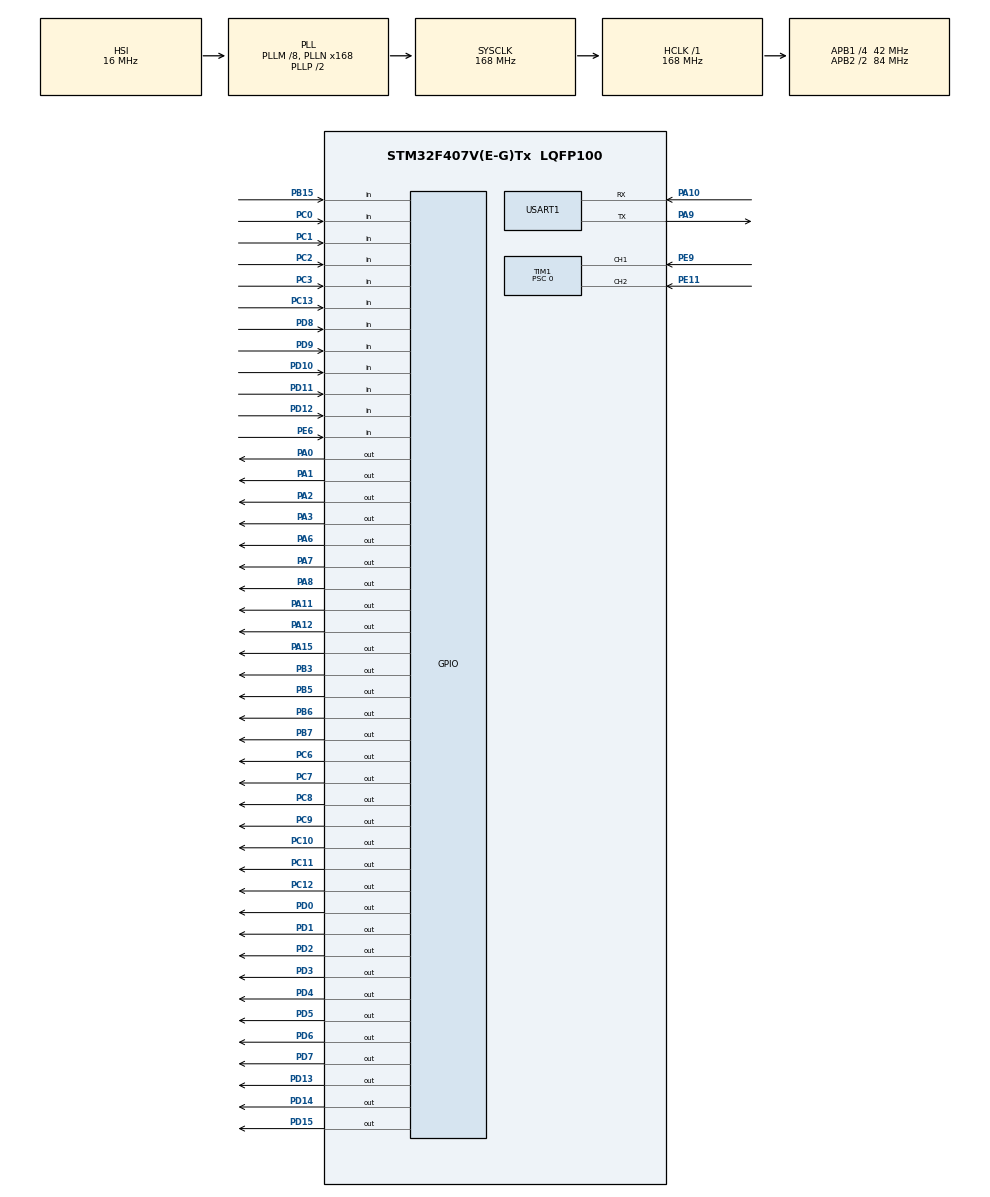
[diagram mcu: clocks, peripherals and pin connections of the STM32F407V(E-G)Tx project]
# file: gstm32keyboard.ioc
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Mcu.Family=STM32F4
Mcu.Name=STM32F407V(E-G)Tx
Mcu.Package=LQFP100
NVIC.PriorityGroup=NVIC_PRIORITYGROUP_4
NVIC.USART1_IRQn=true\:0\:0\:false\:false\:true\:true\:true\:true
PA0-WKUP.Signal=GPIO_Output
PA1.Signal=GPIO_Output
PA10.Mode=Asynchronous
PA10.Signal=USART1_RX
PA11.Signal=GPIO_Output
PA12.Signal=GPIO_Output
PA15.Signal=GPIO_Output
PA2.Signal=GPIO_Output
PA3.Signal=GPIO_Output
PA6.Signal=GPIO_Output
PA7.Signal=GPIO_Output
PA8.Signal=GPIO_Output
PA9.Mode=Asynchronous
PA9.Signal=USART1_TX
PB15.GPIO_PuPd=GPIO_PULLUP
PB15.Signal=GPIO_Input
PB3.Signal=GPIO_Output
PB5.Signal=GPIO_Output
PB6.Signal=GPIO_Output
PB7.Signal=GPIO_Output
PC0.GPIO_PuPd=GPIO_PULLUP
PC0.Signal=GPIO_Input
PC1.GPIO_PuPd=GPIO_PULLUP
PC1.Signal=GPIO_Input
PC10.Signal=GPIO_Output
PC11.Signal=GPIO_Output
PC12.Signal=GPIO_Output
PC13-ANTI_TAMP.GPIO_PuPd=GPIO_PULLUP
PC13-ANTI_TAMP.Signal=GPIO_Input
PC2.GPIO_PuPd=GPIO_PULLUP
PC2.Signal=GPIO_Input
PC3.GPIO_PuPd=GPIO_PULLUP
PC3.Signal=GPIO_Input
PC6.Signal=GPIO_Output
PC7.Signal=GPIO_Output
PC8.Signal=GPIO_Output
PC9.Signal=GPIO_Output
PD0.Signal=GPIO_Output
PD1.Signal=GPIO_Output
PD10.GPIO_PuPd=GPIO_PULLUP
PD10.Signal=GPIO_Input
PD11.GPIO_PuPd=GPIO_PULLUP
PD11.Signal=GPIO_Input
PD12.GPIO_PuPd=GPIO_PULLUP
PD12.Signal=GPIO_Input
PD13.Signal=GPIO_Output
PD14.Signal=GPIO_Output
PD15.Signal=GPIO_Output
PD2.Signal=GPIO_Output
PD3.Signal=GPIO_Output
PD4.Signal=GPIO_Output
PD5.Signal=GPIO_Output
PD6.Signal=GPIO_Output
PD7.Signal=GPIO_Output
PD8.GPIO_PuPd=GPIO_PULLUP
PD8.Signal=GPIO_Input
PD9.GPIO_PuPd=GPIO_PULLUP
PD9.Signal=GPIO_Input
PE11.GPIO_PuPd=GPIO_PULLUP
PE11.Signal=S_TIM1_CH2
PE6.GPIO_PuPd=GPIO_PULLUP
PE6.Signal=GPIO_Input
PE9.GPIO_PuPd=GPIO_PULLUP
PE9.Signal=S_TIM1_CH1
ProjectManager.HeapSize=0x200
ProjectManager.StackSize=0x400
ProjectManager.TargetToolchain=Makefile
RCC.48MHZClocksFreq_Value=84000000
RCC.AHBFreq_Value=168000000
RCC.APB1CLKDivider=RCC_HCLK_DIV4
RCC.APB1Freq_Value=42000000
RCC.APB1TimFreq_Value=84000000
RCC.APB2CLKDivider=RCC_HCLK_DIV2
RCC.APB2Freq_Value=84000000
RCC.APB2TimFreq_Value=168000000
RCC.CortexFreq_Value=168000000
RCC.HCLKFreq_Value=168000000
RCC.HSE_VALUE=25000000
RCC.HSI_VALUE=16000000
RCC.LSE_VALUE=32768
RCC.PLLM=8
RCC.PLLN=168
RCC.SYSCLKFreq_VALUE=168000000
RCC.SYSCLKSource=RCC_SYSCLKSOURCE_PLLCLK
RCC.VCOOutputFreq_Value=336000000
SH.S_TIM1_CH1.0=TIM1_CH1,Encoder_Interface
SH.S_TIM1_CH2.0=TIM1_CH2,Encoder_Interface
TIM1.Period=0xffff
TIM1.Prescaler=0
TIM10.Prescaler=167
USART1.VirtualMode=VM_ASYNC
VP_TIM10_VS_ClockSourceINT.Mode=Enable_Timer
board=custom

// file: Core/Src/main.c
/* USER CODE BEGIN Header */
/**
 ******************************************************************************
 * @file           : main.c
 * @brief          : Main program body
 ******************************************************************************
 * @attention
 *
 * Copyright (c) 2023 STMicroelectronics.
 * All rights reserved.
 *
 * This software is licensed under terms that can be found in the LICENSE file
 * in the root directory of this software component.
 * If no LICENSE file comes with this software, it is provided AS-IS.
 *
 ******************************************************************************
 */
/* USER CODE END Header */
#include "main.h"
#include "tim.h"
#include "usart.h"
#include "gpio.h"

/* USER CODE BEGIN Includes */
#include "buttons.h"
#include "leds.h"
/* USER CODE END Includes */

/* USER CODE BEGIN PM */
void usDelay(uint16_t usec) {
    __HAL_TIM_SET_COUNTER(&htim10, 0);
    while (__HAL_TIM_GET_COUNTER(&htim10) < usec);
}
/* USER CODE END PM */

/* USER CODE BEGIN PV */
uint8_t ENABLED = 0;

//Buffers
uint8_t txbuff[5];
uint8_t rxbuff[5];

//Tmp
int32_t prevCounter = 0;
uint8_t mode = 1;
uint8_t keycols = 0;
/* USER CODE END PV */

void SystemClock_Config(void);

/* USER CODE BEGIN 0 */

uint8_t find(uint8_t *array, const uint8_t count, const uint8_t value) {
    for (int i = 0; i < count; i++) {
        if ( array[i] == value ) return 1;
    }
    return 0;
}

/*--UART FUNCTIONS--*/
void uart_rx()
{
    if (HAL_UART_Receive_IT(&huart1, rxbuff, 3) != HAL_BUSY)
    {
        if (rxbuff[0] == 0xdd && rxbuff[1] == 0xee){
            ENABLED = (rxbuff[2] == 0xff) ? 1 : 0;
        } else if (ENABLED) {
            if (rxbuff[0] == 0xaa && rxbuff[1] == 0xbb)
                (rxbuff[2] == 0xff) ? ledsAll(1) : ledsAll(0);
            else if (rxbuff[0] < KEYOUTS && rxbuff[1] < LEDS)
                ledView(rxbuff[0], rxbuff[1], (rxbuff[2] == 0xff) ? 1 : 0);
        }
    }
}

void uart_tx()
{

    //Main buttons
    for (uint8_t key = 0; key < KEYINS + 3; key++) {
        if (getKeysMatrix(keycols, 1, key) == 1 || ( key >= KEYINS && getEKeysMatrix(1, key-9) == 1 )) {
            if (key < KEYINS) {
                txbuff[0] = keycols;
                txbuff[1] = key;
                txbuff[2] = getKeysMatrix(keycols, 0, key) == 1 ? 0xFF : 0x00;

                setKeysMatrix(keycols, 1, key, 0);
            } else {
                txbuff[0] = 0xAA;
                txbuff[1] = (key-9 == 0) ? 0xAB : (key-9 == 1) ? 0xAC : 0xAD;
                txbuff[2] = getEKeysMatrix(0, key-9) == 1 ? 0xFF : 0x00;

                setEKeysMatrix(1, key-9, 0);
            }
            HAL_UART_Transmit_IT(&huart1, txbuff, 3);
        }
    }

    //Encoder
#ifdef USE_ENCODER
    scanEncoder();
#endif
}

#ifdef USE_ENCODER
void scanEncoder()
{
    int currCounter = __HAL_TIM_GET_COUNTER(&htim1);
    currCounter = 32767 - ((currCounter - 1) & 0xFFFF) / 2;
    if (currCounter != prevCounter)
    {
        txbuff[0] = 0xCC;
        txbuff[1] = 0x25;
        txbuff[2] = 0x00;
        if (currCounter > prevCounter)
            txbuff[2] = 0xFF;

        HAL_UART_Transmit_IT(&huart1, &txbuff, 3);

        prevCounter = currCounter;
    }
}
#endif

/* USER CODE END 0 */

int main(void)
{

  /* MCU Configuration--------------------------------------------------------*/

  /* Reset of all peripherals, Initializes the Flash interface and the Systick. */
  HAL_Init();

  /* Configure the system clock */
  SystemClock_Config();

  /* Initialize all configured peripherals */
  MX_GPIO_Init();
  MX_USART1_UART_Init();
  MX_TIM10_Init();
  MX_TIM1_Init();
    /* USER CODE BEGIN 2 */
    HAL_TIM_Base_Start(&htim10);
    HAL_TIM_Encoder_Start(&htim1, TIM_CHANNEL_ALL);

    /* USER CODE END 2 */

    /* Infinite loop */
    /* USER CODE BEGIN WHILE */

    keyboardStart();

    ledsAll(0);
    ledsView();

    writePin(GPIOA, GPIO_PIN_6, 1);
    writePin(GPIOA, GPIO_PIN_7, 1);

    while (1)
    {
    /* USER CODE END WHILE */

    /* USER CODE BEGIN 3 */
        uart_rx();
        if (!ENABLED) {
            ledsAll(0);
            ledsView();
            keyboardStart();
            keycols = KEYOUTS;
            mode = 0;
            continue;
        }

        if (keycols == KEYOUTS)
        {
            keycols = 0;
            setKeyCounter(keycols);
            mode = !mode;
        }

        setKeyCounter(keycols);

        keyboardEnable(); //! ENABLE KEYBOARD

        if (mode)
            keyboardScan();
        else {
            ledsView();
            uart_tx();
        }

        keyboardDisable(); //! DISABLE KEYBOARD

        if (!mode) usDelay(500);

        keycols++;

    }
  /* USER CODE END 3 */
}

void SystemClock_Config(void)
{
  RCC_OscInitTypeDef RCC_OscInitStruct = {0};
  RCC_ClkInitTypeDef RCC_ClkInitStruct = {0};

  /** Configure the main internal regulator output voltage
  */
  __HAL_RCC_PWR_CLK_ENABLE();
  __HAL_PWR_VOLTAGESCALING_CONFIG(PWR_REGULATOR_VOLTAGE_SCALE1);

  /** Initializes the RCC Oscillators according to the specified parameters
  * in the RCC_OscInitTypeDef structure.
  */
  RCC_OscInitStruct.OscillatorType = RCC_OSCILLATORTYPE_HSI;
  RCC_OscInitStruct.HSIState = RCC_HSI_ON;
  RCC_OscInitStruct.HSICalibrationValue = RCC_HSICALIBRATION_DEFAULT;
  RCC_OscInitStruct.PLL.PLLState = RCC_PLL_ON;
  RCC_OscInitStruct.PLL.PLLSource = RCC_PLLSOURCE_HSI;
  RCC_OscInitStruct.PLL.PLLM = 8;
  RCC_OscInitStruct.PLL.PLLN = 168;
  RCC_OscInitStruct.PLL.PLLP = RCC_PLLP_DIV2;
  RCC_OscInitStruct.PLL.PLLQ = 4;
  if (HAL_RCC_OscConfig(&RCC_OscInitStruct) != HAL_OK)
  {
    Error_Handler();
  }

  /** Initializes the CPU, AHB and APB buses clocks
  */
  RCC_ClkInitStruct.ClockType = RCC_CLOCKTYPE_HCLK|RCC_CLOCKTYPE_SYSCLK
                              |RCC_CLOCKTYPE_PCLK1|RCC_CLOCKTYPE_PCLK2;
  RCC_ClkInitStruct.SYSCLKSource = RCC_SYSCLKSOURCE_PLLCLK;
  RCC_ClkInitStruct.AHBCLKDivider = RCC_SYSCLK_DIV1;
  RCC_ClkInitStruct.APB1CLKDivider = RCC_HCLK_DIV4;
  RCC_ClkInitStruct.APB2CLKDivider = RCC_HCLK_DIV2;

  if (HAL_RCC_ClockConfig(&RCC_ClkInitStruct, FLASH_LATENCY_5) != HAL_OK)
  {
    Error_Handler();
  }
}

void Error_Handler(void)
{
    __disable_irq();
    while (1)
    {
    }
}
